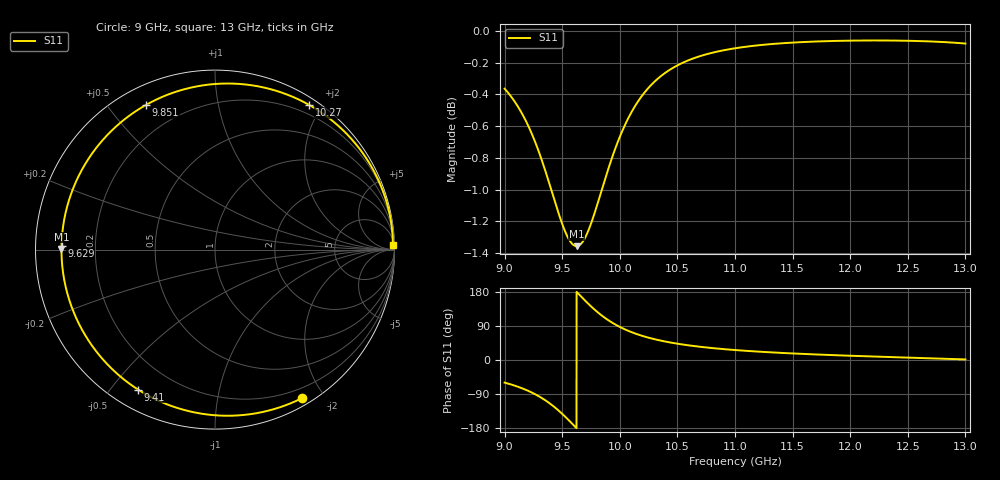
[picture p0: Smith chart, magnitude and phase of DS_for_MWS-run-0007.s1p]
! TOUCHSTONE file generated by CST DESIGN STUDIO
! Date and time: Tue Feb  4 16:07:19 2025
! Project name: C:\Work\MatlabApps\UnitCellOptimizationMatlab\CST\unitcell.cst
! Tree item: Tasks\Sweep1\SPara1\S-Parameters
! Header version: 2024
! Port assignment regex: !\s*Touchstone port\s*([0-9]+)\s*=\s*(CST MWS port|CST DES external port|CST DES block port)\s*(.+)\s* \(\"(.*)\"\)(\s*mode\s*([0-9]+))?.*
! Touchstone port assignment:
! Touchstone port 1 = CST DES external port 1 ("")
# GHz S MA R 50
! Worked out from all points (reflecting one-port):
!   4001 points, 9 GHz to 13 GHz, reference 50 ohm
!   lowest |S11| = -1.4 dB at 9.625 GHz (marker M1), VSWR 12.84, Z = 3.89 + j0.0953 ohm
!   phase of S11 starts at -60 deg and turns -299 deg over the sweep
!   S11 on the Smith chart (normalised r, x): 9 GHz: 0.08, -1.74; 9.41 GHz: 0.08, -0.59; 9.629 GHz: 0.08, +0.01; 9.851 GHz: 0.08, +0.63; 10.27 GHz: 0.09, +1.84; 13 GHz: 24, +67
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9  0.9589 -59.7
9.055  0.9536 -64.5
9.128  0.945 -71.9
9.253  0.9249 -88.4
9.337  0.9073 -103.1
9.41  0.89 -118.7
9.455  0.8792 -129.8
9.5  0.8694 -142.1
9.566  0.8588 -161.7
9.625  0.8555 179.8
9.629  0.8555 178.5
9.686  0.8591 160.6
9.748  0.8691 142.1
9.799  0.8804 128.3
9.851  0.893 115.6
9.92  0.9093 101.1
10  0.926 87.3
10.064  0.9372 78.2
10.129  0.9465 70.4
10.273  0.9616 57.0
10.379  0.9691 49.7
10.5  0.9753 43.0
10.72  0.9824 34.1
11  0.9874 26.3
11.5  0.9915 17.3
12  0.9929 11.2
12.5  0.9928 6.3
13  0.9908 1.5
